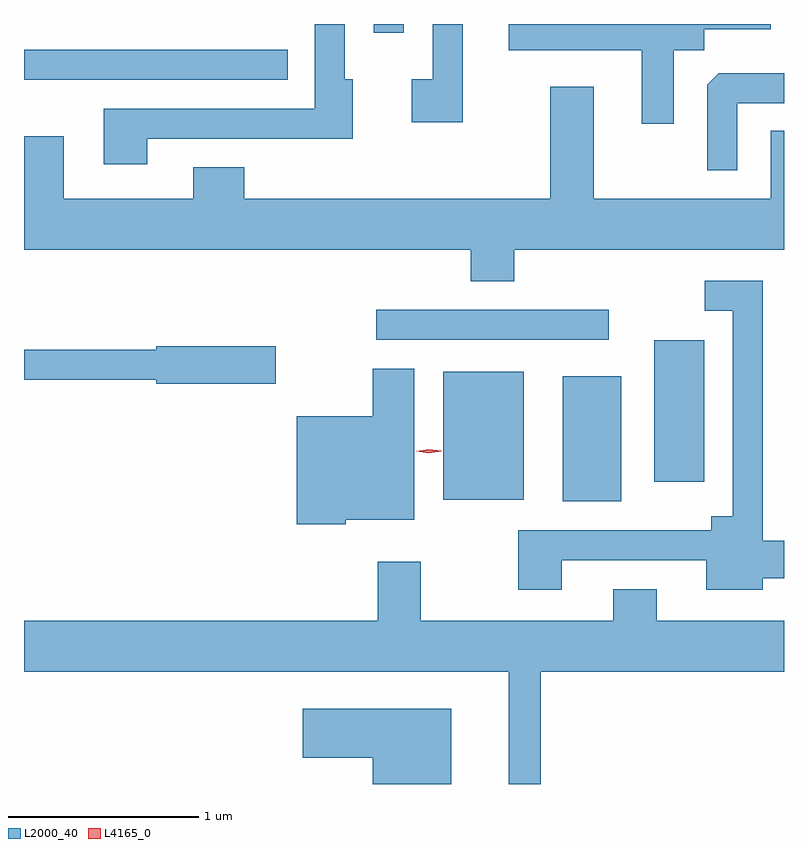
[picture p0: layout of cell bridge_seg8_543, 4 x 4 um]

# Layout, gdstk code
import gdstk
lib = gdstk.Library(unit=1e-6, precision=1e-09)
def R(c, l, rs):  # rectangles x0, y0, x1, y1
    for r in rs: c.add(gdstk.rectangle(r[:2], r[2:], *l))
def P(c, l, *ps):  # polygons
    for p in ps: c.add(gdstk.Polygon(p, *l))
L2000_40 = (2000, 40)
L4165_0 = (4165, 0)

bridge_seg8_543 = lib.new_cell('bridge_seg8_543')
R(bridge_seg8_543, L2000_40, [(560.766,1861.731,561.074,1862.389), (560.136,1861.741,560.559,1862.414), (561.246,1861.836,561.509,1862.579), (559.783,1862.581,561.008,1862.739), (557.93,1863.951,559.318,1864.109), (559.771,1864.198,559.929,1864.244)])
P(bridge_seg8_543, L2000_40, [(560.239,1864.244),(560.081,1864.244),(560.081,1863.954),(559.971,1863.954),(559.971,1863.726),(560.239,1863.726)],
  [(558.579,1863.641),(559.659,1863.641),(559.659,1863.954),(559.619,1863.954),(559.619,1864.244),(559.461,1864.244),(559.461,1863.799),(558.351,1863.799),(558.351,1863.506),(558.579,1863.506)],
  [(561.349,1864.106),(561.509,1864.106),(561.509,1864.216),(561.859,1864.216),(561.859,1864.244),(560.481,1864.244),(560.481,1864.106),(561.181,1864.106),(561.181,1863.718),(561.349,1863.718)],
  [(561.684,1863.826),(561.93,1863.826),(561.93,1863.984),(561.587,1863.984),(561.526,1863.924),(561.526,1863.473),(561.684,1863.473)],
  [(560.509,1863.056),(561.93,1863.056),(561.93,1863.683),(561.861,1863.683),(561.861,1863.324),(560.929,1863.324),(560.929,1863.914),(560.701,1863.914),(560.701,1863.324),(559.089,1863.324),(559.089,1863.489),(558.821,1863.489),(558.821,1863.324),(558.139,1863.324),(558.139,1863.654),(557.93,1863.654),(557.93,1863.056),(560.281,1863.056),(560.281,1862.891),(560.509,1862.891)],
  [(560.759,1861.421),(561.521,1861.421),(561.521,1861.266),(561.819,1861.266),(561.819,1861.326),(561.93,1861.326),(561.93,1861.524),(561.819,1861.524),(561.819,1862.894),(561.513,1862.894),(561.513,1862.736),(561.661,1862.736),(561.661,1861.654),(561.546,1861.654),(561.546,1861.579),(560.531,1861.579),(560.531,1861.266),(560.759,1861.266)],
  [(559.254,1862.549),(558.626,1862.549),(558.626,1862.529),(557.93,1862.529),(557.93,1862.371),(558.626,1862.371),(558.626,1862.351),(559.254,1862.351)],
  [(559.624,1861.636),(559.984,1861.636),(559.984,1862.429),(559.766,1862.429),(559.766,1862.179),(559.366,1862.179),(559.366,1861.611),(559.624,1861.611)],
  [(560.649,1860.836),(561.93,1860.836),(561.93,1861.104),(561.259,1861.104),(561.259,1861.269),(561.031,1861.269),(561.031,1861.104),(560.019,1861.104),(560.019,1861.414),(559.791,1861.414),(559.791,1861.104),(557.93,1861.104),(557.93,1860.836),(560.481,1860.836),(560.481,1860.244),(560.649,1860.244)],
  [(560.179,1860.639),(559.396,1860.639),(559.396,1860.381),(559.766,1860.381),(559.766,1860.244),(560.179,1860.244)])
P(bridge_seg8_543, L4165_0, [(560.06,1861.986),(559.994,1861.995),(559.994,1861.995),(559.994,1861.996),(560.06,1862.006),(560.126,1861.997),(560.126,1861.996),(560.126,1861.996)])

lib.write_gds('bridge_seg8_543.gds')
